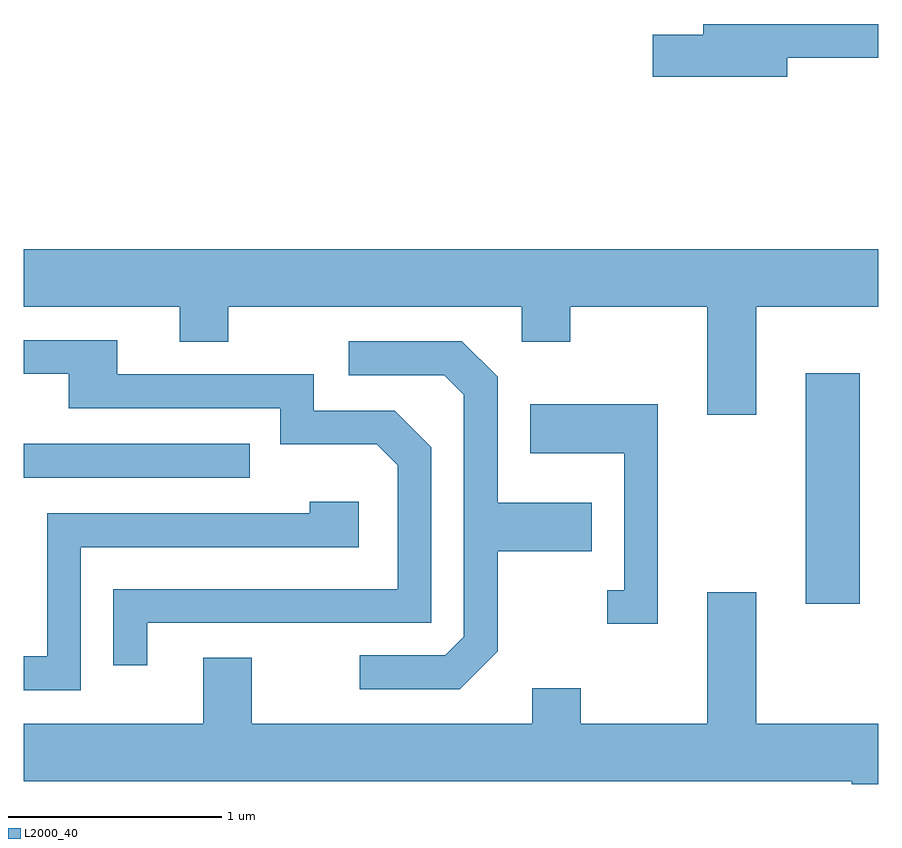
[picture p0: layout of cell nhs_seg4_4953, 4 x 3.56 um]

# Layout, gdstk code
import gdstk
lib = gdstk.Library(unit=1e-6, precision=1e-09)
def R(c, l, rs):  # rectangles x0, y0, x1, y1
    for r in rs: c.add(gdstk.rectangle(r[:2], r[2:], *l))
def P(c, l, *ps):  # polygons
    for p in ps: c.add(gdstk.Polygon(p, *l))
L2000_40 = (2000, 40)

nhs_seg4_4953 = lib.new_cell('nhs_seg4_4953')
R(nhs_seg4_4953, L2000_40, [(333.271,1368.826,333.524,1369.904), (329.611,1369.416,330.668,1369.574)])
P(nhs_seg4_4953, L2000_40, [(333.184,1371.381),(333.611,1371.381),(333.611,1371.539),(332.791,1371.539),(332.791,1371.489),(332.556,1371.489),(332.556,1371.291),(333.184,1371.291)],
  [(333.039,1370.216),(333.611,1370.216),(333.611,1370.484),(329.611,1370.484),(329.611,1370.216),(330.341,1370.216),(330.341,1370.051),(330.569,1370.051),(330.569,1370.216),(331.941,1370.216),(331.941,1370.051),(332.169,1370.051),(332.169,1370.216),(332.811,1370.216),(332.811,1369.711),(333.039,1369.711)],
  [(330.189,1368.736),(331.519,1368.736),(331.519,1369.557),(331.347,1369.729),(330.969,1369.729),(330.969,1369.899),(330.049,1369.899),(330.049,1370.059),(329.611,1370.059),(329.611,1369.901),(329.821,1369.901),(329.821,1369.741),(330.811,1369.741),(330.811,1369.571),(331.264,1369.571),(331.361,1369.474),(331.361,1368.894),(330.031,1368.894),(330.031,1368.538),(330.189,1368.538)],
  [(331.829,1368.604),(331.829,1369.071),(332.269,1369.071),(332.269,1369.299),(331.829,1369.299),(331.829,1369.887),(331.662,1370.054),(331.133,1370.054),(331.133,1369.896),(331.579,1369.896),(331.671,1369.804),(331.671,1368.672),(331.584,1368.584),(331.183,1368.584),(331.183,1368.426),(331.652,1368.426)],
  [(332.579,1369.759),(331.981,1369.759),(331.981,1369.531),(332.421,1369.531),(332.421,1368.889),(332.343,1368.889),(332.343,1368.731),(332.579,1368.731)],
  [(329.879,1369.091),(331.179,1369.091),(331.179,1369.304),(330.951,1369.304),(330.951,1369.249),(329.721,1369.249),(329.721,1368.579),(329.611,1368.579),(329.611,1368.421),(329.879,1368.421)],
  [(333.611,1368.264),(333.039,1368.264),(333.039,1368.879),(332.811,1368.879),(332.811,1368.264),(332.219,1368.264),(332.219,1368.429),(331.991,1368.429),(331.991,1368.264),(330.679,1368.264),(330.679,1368.574),(330.451,1368.574),(330.451,1368.264),(329.611,1368.264),(329.611,1367.996),(333.486,1367.996),(333.486,1367.982),(333.611,1367.982)])

lib.write_gds('nhs_seg4_4953.gds')
